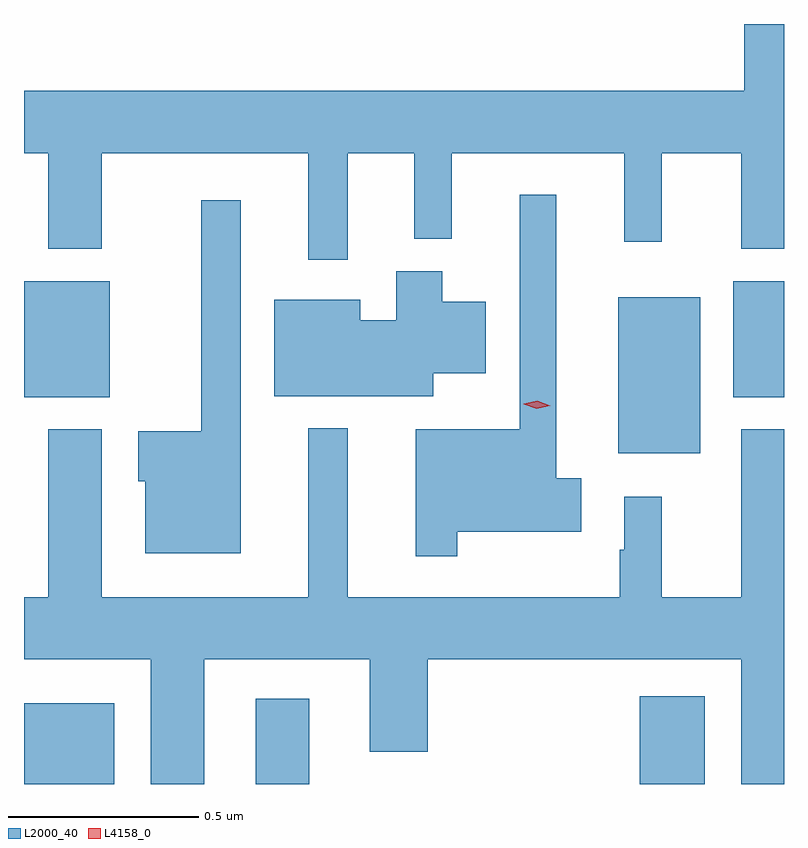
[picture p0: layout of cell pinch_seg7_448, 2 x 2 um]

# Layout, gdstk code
import gdstk
lib = gdstk.Library(unit=1e-6, precision=1e-09)
def R(c, l, rs):  # rectangles x0, y0, x1, y1
    for r in rs: c.add(gdstk.rectangle(r[:2], r[2:], *l))
def P(c, l, *ps):  # polygons
    for p in ps: c.add(gdstk.Polygon(p, *l))
L2000_40 = (2000, 40)
L4158_0 = (4158, 0)

pinch_seg7_448 = lib.new_cell('pinch_seg7_448')
R(pinch_seg7_448, L2000_40, [(359.071,1046.908,359.308,1047.121), (359.681,1046.908,359.821,1047.133), (360.692,1046.908,360.862,1047.139), (360.635,1047.779,360.85,1048.189), (359.071,1047.926,359.296,1048.231), (360.938,1047.926,361.071,1048.231)])
P(pinch_seg7_448, L2000_40, [(359.923,1048.568),(360.098,1048.568),(360.098,1048.343),(360.197,1048.343),(360.197,1048.568),(360.65,1048.568),(360.65,1048.335),(360.749,1048.335),(360.749,1048.568),(360.959,1048.568),(360.959,1048.316),(361.071,1048.316),(361.071,1048.908),(360.967,1048.908),(360.967,1048.732),(359.071,1048.732),(359.071,1048.568),(359.135,1048.568),(359.135,1048.316),(359.275,1048.316),(359.275,1048.568),(359.819,1048.568),(359.819,1048.287),(359.923,1048.287)],
  [(360.211,1047.572),(360.538,1047.572),(360.538,1047.713),(360.472,1047.713),(360.472,1048.459),(360.375,1048.459),(360.375,1047.841),(360.102,1047.841),(360.102,1047.507),(360.211,1047.507)],
  [(359.641,1048.444),(359.537,1048.444),(359.537,1047.836),(359.372,1047.836),(359.372,1047.705),(359.39,1047.705),(359.39,1047.515),(359.641,1047.515)],
  [(360.148,1047.989),(360.286,1047.989),(360.286,1048.177),(360.172,1048.177),(360.172,1048.258),(360.05,1048.258),(360.05,1048.129),(359.956,1048.129),(359.956,1048.183),(359.729,1048.183),(359.729,1047.929),(360.148,1047.929)],
  [(359.545,1047.236),(359.981,1047.236),(359.981,1046.993),(360.134,1046.993),(360.134,1047.236),(360.959,1047.236),(360.959,1046.908),(361.071,1046.908),(361.071,1047.841),(360.959,1047.841),(360.959,1047.4),(360.749,1047.4),(360.749,1047.664),(360.651,1047.664),(360.651,1047.524),(360.639,1047.524),(360.639,1047.4),(359.923,1047.4),(359.923,1047.844),(359.819,1047.844),(359.819,1047.4),(359.275,1047.4),(359.275,1047.841),(359.135,1047.841),(359.135,1047.4),(359.071,1047.4),(359.071,1047.236),(359.405,1047.236),(359.405,1046.908),(359.545,1046.908)])
P(pinch_seg7_448, L4158_0, [(360.42,1047.896),(360.386,1047.908),(360.386,1047.908),(360.386,1047.909),(360.422,1047.916),(360.456,1047.904),(360.456,1047.903),(360.456,1047.903)])

lib.write_gds('pinch_seg7_448.gds')
